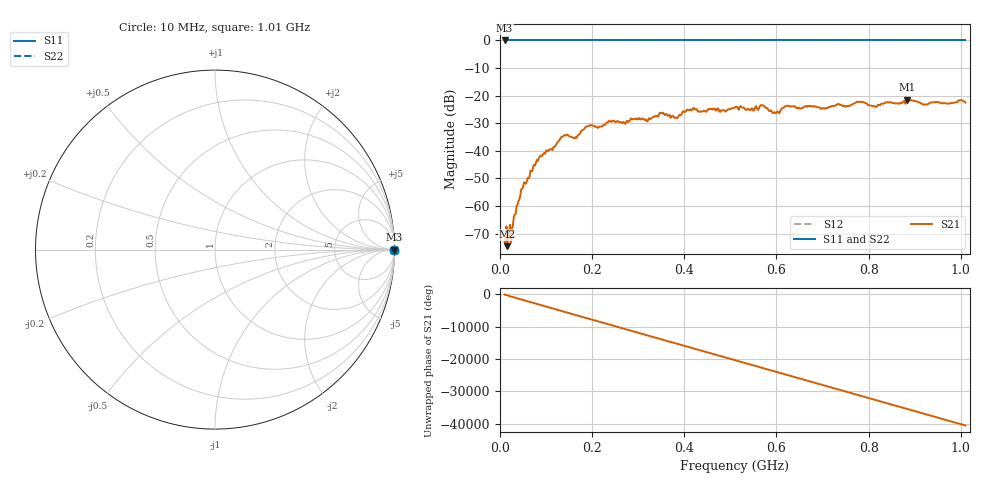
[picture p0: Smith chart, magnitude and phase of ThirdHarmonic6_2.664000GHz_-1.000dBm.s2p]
! 8/17/2025 6:09:41 AM
! C:\ANRITSUVNA\TEMP\TEMP.S2P
! CHANNEL.1
! TR.MEASUREMENT
! RAW.DATA
! RF.CORRECTION.OFF
! AVERAGING.OFF
! IF.BANDWIDTH: 5KHZ
! SWEEPTYPE:  FREQ.SWEEP(Linear)
! Reference Plane Port Info
! PORT:  PORT1  PORT2
! DISTANCE:  0  m  0  m
! TIME:  0  s  0  s
! PHASE.OFFSET:  0  deg.  0  deg.
! LOSS:  0  dB  0  dB
! REF.LOSS:  0  dB  0  dB
! REF.FREQ:  0  Hz  0  Hz
! Power Info
! POWER:  -20  dBm  -20  dBm
! EFF.POWER:  -20  dBm  -20  dBm
! SOURCE.ATTEN:  0  dB  0  dB
! TEST.ATTEN:  0  dB  0  dB
# GHZ S RI R 50.0
! FREQ.GHZ  S11RE  S11IM  S21RE  S21IM  S12RE  S12IM  S22RE  S22IM
!; PortSelection: Port_12
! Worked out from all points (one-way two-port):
!   501 points, 10 MHz to 1.01 GHz, reference 50 ohm
!   highest |S21| = -21.49 dB at 884 MHz (marker M1); lowest = -74.6 dB at 16 MHz (marker M2)
!   lowest |S11| = 0.0 dB at 10 MHz (marker M3)
!   |S11| at or under -10 dB: nowhere
!   |S22| runs from 0.0 to 0.0 dB; largest |S21 - S12| = 1.1
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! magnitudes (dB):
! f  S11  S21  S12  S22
! 10 MHz  0.0  -73.1  0.0  0.0
! 16 MHz  0.0  -74.6  0.0  0.0
! 24 MHz  0.0  -73.3  0.0  0.0
! 50 MHz  0.0  -53.2  0.0  0.0
! 84 MHz  0.0  -42.7  0.0  0.0
! 136 MHz  0.0  -34.9  0.0  0.0
! 162 MHz  0.0  -35.4  0.0  0.0
! 178 MHz  0.0  -32.6  0.0  0.0
! 240 MHz  0.0  -29.4  0.0  0.0
! 316 MHz  0.0  -28.6  0.0  0.0
! 344 MHz  0.0  -27.3  0.0  0.0
! 382 MHz  0.0  -27.9  0.0  0.0
! 416 MHz  0.0  -25.4  0.0  0.0
! 510 MHz  0.0  -24.2  0.0  0.0
! 570 MHz  0.0  -23.5  0.0  0.0
! 596 MHz  0.0  -26.0  0.0  0.0
! 622 MHz  0.0  -23.7  0.0  0.0
! 678 MHz  0.0  -24.0  0.0  0.0
! 814 MHz  0.0  -23.9  0.0  0.0
! 844 MHz  0.0  -22.5  0.0  0.0
! 884 MHz  0.0  -21.5  0.0  0.0
! 1.01 GHz  0.0  -22.5  0.0  0.0
